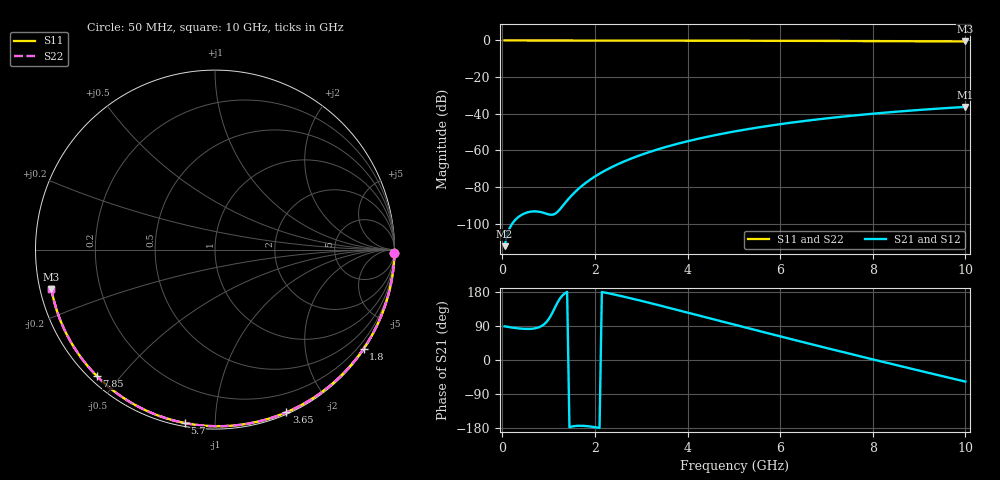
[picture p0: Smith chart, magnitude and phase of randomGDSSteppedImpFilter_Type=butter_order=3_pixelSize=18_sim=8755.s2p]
! freq	dB(S11)	phase(S11)	dB(S12)	phase(S12)
!  dB(S21)	phase(S21)	dB(S22)	phase(S22)
!S-par simulation data
#  GHz  S  DB  R 50
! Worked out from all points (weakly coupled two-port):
!   200 points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, 50 MHz to 10 GHz, reference 50 ohm
!   highest |S21| = -36.31 dB at 10 GHz (marker M1); lowest = -112.4 dB at 50 MHz (marker M2)
!   lowest |S11| = -0.6 dB at 10 GHz (marker M3), VSWR 31.16, Z = 1.63 - j5.91 ohm
!   |S11| at or under -10 dB: nowhere
!   |S22| runs from -0.6 to 0.0 dB; largest |S21 - S12| = 0
!   S11 on the Smith chart (normalised r, x): 50 MHz: open; 1.8 GHz: 0.03, -3.31; 3.65 GHz: 0.02, -1.53; 5.7 GHz: 0.02, -0.84; 7.85 GHz: 0.02, -0.43; 10 GHz: 0.03, -0.12
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0.05  -0.00 -1.0  -112.37 88.9  -112.37 88.9  -0.00 -1.0
0.45  -0.01 -8.5  -94.82 82.4  -94.82 82.4  -0.01 -8.5
0.85  -0.02 -16.1  -93.85 89.8  -93.85 89.8  -0.02 -16.1
1.65  -0.04 -30.9  -80.92 -173.5  -80.92 -173.5  -0.04 -30.9
1.7  -0.04 -31.8  -79.83 -173.5  -79.83 -173.5  -0.04 -31.8
1.75  -0.04 -32.7  -78.80 -173.8  -78.80 -173.8  -0.04 -32.7
1.8  -0.04 -33.6  -77.82 -174.2  -77.82 -174.2  -0.04 -33.6
2.1  -0.05 -39.1  -72.77 -179.3  -72.77 -179.3  -0.05 -39.1
2.5  -0.06 -46.3  -67.55 170.6  -67.55 170.6  -0.06 -46.3
2.9  -0.07 -53.4  -63.39 159.1  -63.39 159.1  -0.07 -53.4
3.4  -0.08 -62.1  -59.16 143.9  -59.16 143.9  -0.08 -62.1
3.65  -0.09 -66.4  -57.35 136.1  -57.35 136.1  -0.09 -66.4
4.3  -0.11 -77.3  -53.30 115.7  -53.30 115.7  -0.11 -77.3
5.05  -0.14 -89.5  -49.54 92.0  -49.54 92.0  -0.14 -89.5
5.7  -0.17 -99.9  -46.84 71.7  -46.84 71.7  -0.17 -99.9
6.2  -0.20 -107.7  -45.04 56.2  -45.04 56.2  -0.20 -107.7
6.7  -0.23 -115.4  -43.44 40.9  -43.44 40.9  -0.23 -115.4
7.25  -0.27 -123.8  -41.87 24.1  -41.87 24.1  -0.27 -123.8
7.85  -0.32 -133.0  -40.37 6.1  -40.37 6.1  -0.32 -133.0
8.35  -0.36 -140.6  -39.25 -8.8  -39.25 -8.8  -0.36 -140.6
9.2  -0.46 -153.8  -37.59 -33.8  -37.59 -33.8  -0.46 -153.8
10  -0.56 -166.5  -36.31 -57.0  -36.31 -57.0  -0.56 -166.5
